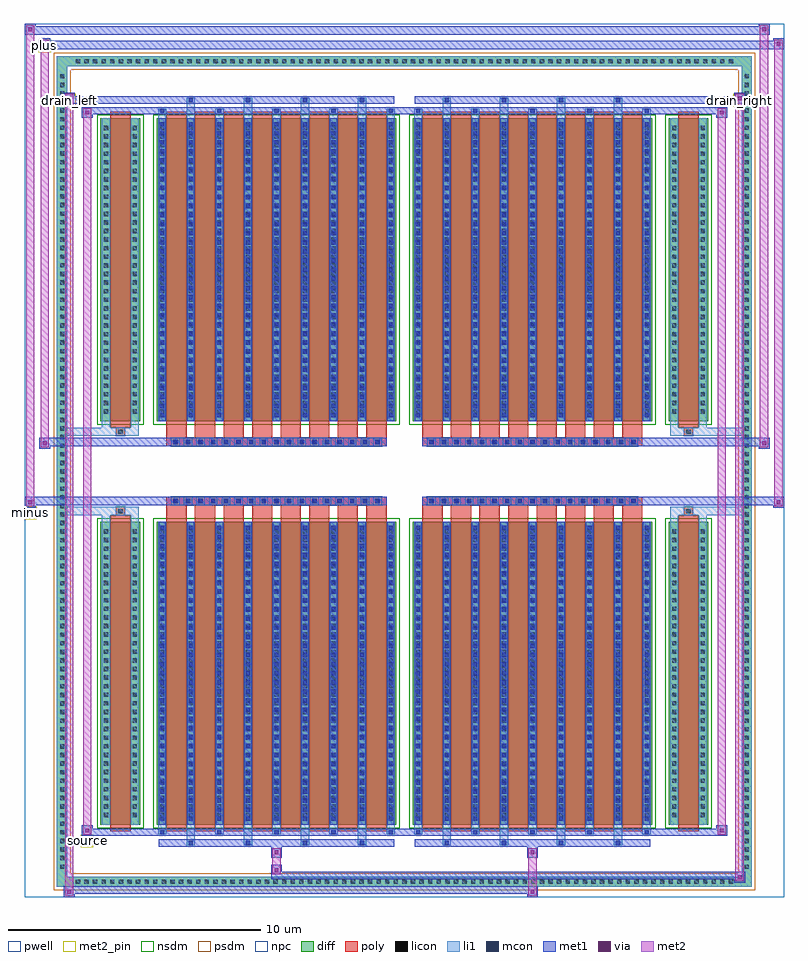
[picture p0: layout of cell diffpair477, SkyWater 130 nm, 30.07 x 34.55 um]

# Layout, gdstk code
import gdstk
lib = gdstk.Library(unit=1e-6, precision=5e-09)
def R(c, l, rs):  # rectangles x0, y0, x1, y1
    for r in rs: c.add(gdstk.rectangle(r[:2], r[2:], *l))
def A(c, l, x, y, w, h, nx, ny, dx, dy):  # array of equal rectangles
    R(c, l, [(x+i*dx, y+j*dy, x+i*dx+w, y+j*dy+h) for i in range(nx) for j in range(ny)])
def P(c, l, *ps):  # polygons
    for p in ps: c.add(gdstk.Polygon(p, *l))
pwell = (64, 44)
diff = (65, 20)
poly = (66, 20)
licon = (66, 44)
li1 = (67, 20)
mcon = (67, 44)
met1 = (68, 20)
via = (68, 44)
met2_pin = (69, 16)
met2 = (69, 20)
nsdm = (93, 44)
psdm = (94, 20)
npc = (95, 20)

diffpair477 = lib.new_cell('diffpair477')
R(diffpair477, pwell, [(-15.02,-16.84,15.02,17.71), (-12.34,-15.03,-0.01,-0.805), (0.01,-15.03,12.34,-0.805), (-12.34,0.805,-0.01,15.03), (0.01,0.805,12.34,15.03)])
A(diffpair477, diff, -13.125, -16.44, 0.41, 0.41, 77, 2, 0.34, 32.47)
A(diffpair477, diff, -13.75, -15.845, 0.41, 0.41, 1, 93, 0, 0.34)
A(diffpair477, diff, 13.34, -15.845, 0.41, 0.41, 1, 93, 0, 0.34)
R(diffpair477, diff, [(-13.125,-16.44,13.125,-16.03), (-13.75,-15.845,-13.34,15.845), (13.34,-15.845,13.75,15.845), (-12.03,-13.985,-10.45,-1.985), (-9.81,-13.985,-0.32,-1.985), (0.32,-13.985,9.81,-1.985), (10.45,-13.985,12.03,-1.985), (-12.03,1.985,-10.45,13.985), (-9.81,1.985,-0.32,13.985), (0.32,1.985,9.81,13.985), (10.45,1.985,12.03,13.985), (-13.125,16.03,13.125,16.44)])
P(diffpair477, diff, [(13.75,16.44),(-13.75,16.44),(-13.75,-16.03),(-13.34,-16.03),(-13.34,16.03),(13.34,16.03),(13.34,-16.03),(-13.34,-16.03),(-13.75,-16.03),(-13.75,-16.44),(13.75,-16.44)])
A(diffpair477, poly, -9.42, -14.235, 0.8, 12.5, 8, 2, 1.13, 15.97)
A(diffpair477, poly, 0.71, -14.235, 0.8, 12.5, 8, 2, 1.13, 15.97)
A(diffpair477, poly, -9.42, -1.735, 0.8, 0.4, 8, 2, 1.13, 3.07)
A(diffpair477, poly, 0.71, -1.735, 0.8, 0.4, 8, 2, 1.13, 3.07)
A(diffpair477, poly, -9.23, -1.335, 0.33, 0.33, 17, 2, 0.5, 2.34)
A(diffpair477, poly, 0.9, -1.335, 0.33, 0.33, 17, 2, 0.5, 2.34)
R(diffpair477, poly, [(-11.64,-14.235,-10.84,-1.735), (10.84,-14.235,11.64,-1.735), (-11.405,-1.735,-11.075,-1.405), (-11.405,-1.735,-11.075,-1.405), (11.075,-1.735,11.405,-1.405), (11.075,-1.735,11.405,-1.405), (-9.42,-1.335,-0.71,-1.005), (0.71,-1.335,9.42,-1.005), (-9.42,1.005,-0.71,1.335), (0.71,1.005,9.42,1.335), (-11.405,1.405,-11.075,1.735), (-11.405,1.405,-11.075,1.735), (11.075,1.405,11.405,1.735), (11.075,1.405,11.405,1.735), (-11.64,1.735,-10.84,14.235), (10.84,1.735,11.64,14.235)])
A(diffpair477, licon, -13.005, -16.32, 0.17, 0.17, 77, 2, 0.34, 32.47)
A(diffpair477, licon, -13.63, -15.725, 0.17, 0.17, 1, 93, 0, 0.34)
A(diffpair477, licon, 13.46, -15.725, 0.17, 0.17, 1, 93, 0, 0.34)
A(diffpair477, licon, -11.89, -13.68, 0.17, 0.17, 1, 34, 0, 0.34)
A(diffpair477, licon, -10.76, -13.68, 0.17, 0.17, 1, 34, 0, 0.34)
A(diffpair477, licon, -9.67, -13.68, 0.17, 0.17, 9, 34, 1.13, 0.34)
A(diffpair477, licon, 0.46, -13.68, 0.17, 0.17, 9, 34, 1.13, 0.34)
A(diffpair477, licon, 10.59, -13.68, 0.17, 0.17, 1, 34, 0, 0.34)
A(diffpair477, licon, 11.72, -13.68, 0.17, 0.17, 1, 34, 0, 0.34)
A(diffpair477, licon, -9.15, -1.255, 0.17, 0.17, 17, 2, 0.5, 2.34)
A(diffpair477, licon, 0.98, -1.255, 0.17, 0.17, 17, 2, 0.5, 2.34)
A(diffpair477, licon, -11.89, 2.29, 0.17, 0.17, 1, 34, 0, 0.34)
A(diffpair477, licon, -10.76, 2.29, 0.17, 0.17, 1, 34, 0, 0.34)
A(diffpair477, licon, -9.67, 2.29, 0.17, 0.17, 9, 34, 1.13, 0.34)
A(diffpair477, licon, 0.46, 2.29, 0.17, 0.17, 9, 34, 1.13, 0.34)
A(diffpair477, licon, 10.59, 2.29, 0.17, 0.17, 1, 34, 0, 0.34)
A(diffpair477, licon, 11.72, 2.29, 0.17, 0.17, 1, 34, 0, 0.34)
R(diffpair477, licon, [(-11.325,-1.655,-11.155,-1.485), (11.155,-1.655,11.325,-1.485), (-11.325,1.485,-11.155,1.655), (11.155,1.485,11.325,1.655)])
A(diffpair477, li1, -13.085, -16.4, 0.33, 0.33, 77, 2, 0.34, 32.47)
A(diffpair477, li1, -13.71, -15.805, 0.33, 0.33, 1, 93, 0, 0.34)
A(diffpair477, li1, 13.38, -15.805, 0.33, 0.33, 1, 93, 0, 0.34)
A(diffpair477, li1, -8.62, -14.79, 0.33, 0.805, 4, 2, 2.26, 28.775)
A(diffpair477, li1, -8.54, -14.79, 0.17, 0.17, 4, 2, 2.26, 29.41)
A(diffpair477, li1, 1.51, -14.79, 0.33, 0.805, 4, 2, 2.26, 28.775)
A(diffpair477, li1, 1.59, -14.79, 0.17, 0.17, 4, 2, 2.26, 29.41)
A(diffpair477, li1, -9.75, -14.36, 0.33, 0.375, 5, 2, 2.26, 28.345)
A(diffpair477, li1, -9.67, -14.36, 0.17, 0.17, 5, 2, 2.26, 28.55)
A(diffpair477, li1, 0.38, -14.36, 0.33, 0.375, 5, 2, 2.26, 28.345)
A(diffpair477, li1, 0.46, -14.36, 0.17, 0.17, 5, 2, 2.26, 28.55)
A(diffpair477, li1, -9.75, -13.985, 0.33, 12, 9, 2, 1.13, 15.97)
A(diffpair477, li1, 0.38, -13.985, 0.33, 12, 9, 2, 1.13, 15.97)
A(diffpair477, li1, -9.67, -13.83, 0.17, 0.17, 9, 33, 1.13, 0.36)
A(diffpair477, li1, -9.67, -13.83, 0.17, 11.69, 9, 2, 1.13, 15.97)
A(diffpair477, li1, 0.46, -13.83, 0.17, 0.17, 9, 33, 1.13, 0.36)
A(diffpair477, li1, 0.46, -13.83, 0.17, 11.69, 9, 2, 1.13, 15.97)
A(diffpair477, li1, -11.97, -13.76, 0.33, 0.33, 1, 34, 0, 0.34)
A(diffpair477, li1, -10.84, -13.76, 0.33, 0.33, 1, 34, 0, 0.34)
A(diffpair477, li1, -9.75, -13.76, 0.33, 0.33, 9, 34, 1.13, 0.34)
A(diffpair477, li1, 0.38, -13.76, 0.33, 0.33, 9, 34, 1.13, 0.34)
A(diffpair477, li1, 10.51, -13.76, 0.33, 0.33, 1, 34, 0, 0.34)
A(diffpair477, li1, 11.64, -13.76, 0.33, 0.33, 1, 34, 0, 0.34)
A(diffpair477, li1, -9.23, -1.335, 0.33, 0.33, 17, 2, 0.5, 2.34)
A(diffpair477, li1, 0.9, -1.335, 0.33, 0.33, 17, 2, 0.5, 2.34)
A(diffpair477, li1, -9.67, 2.14, 0.17, 0.17, 9, 33, 1.13, 0.36)
A(diffpair477, li1, 0.46, 2.14, 0.17, 0.17, 9, 33, 1.13, 0.36)
A(diffpair477, li1, -11.97, 2.21, 0.33, 0.33, 1, 34, 0, 0.34)
A(diffpair477, li1, -10.84, 2.21, 0.33, 0.33, 1, 34, 0, 0.34)
A(diffpair477, li1, -9.75, 2.21, 0.33, 0.33, 9, 34, 1.13, 0.34)
A(diffpair477, li1, 0.38, 2.21, 0.33, 0.33, 9, 34, 1.13, 0.34)
A(diffpair477, li1, 10.51, 2.21, 0.33, 0.33, 1, 34, 0, 0.34)
A(diffpair477, li1, 11.64, 2.21, 0.33, 0.33, 1, 34, 0, 0.34)
R(diffpair477, li1, [(-13.75,-16.44,-13.34,-16.03), (-13.75,-16.44,-13.34,-16.03), (-13.34,-16.44,13.34,-16.03), (13.34,-16.44,13.75,-16.03), (13.34,-16.44,13.75,-16.03), (-13.75,-16.03,-13.34,16.03), (13.34,-16.03,13.75,16.03), (-11.97,-13.985,-11.64,-1.985), (-10.84,-13.985,-10.51,-1.985), (10.51,-13.985,10.84,-1.985), (11.64,-13.985,11.97,-1.985), (-11.97,-1.985,-11.64,-1.405), (-10.84,-1.985,-10.51,-1.405), (10.51,-1.985,10.84,-1.405), (11.64,-1.985,11.97,-1.405), (-13.75,-1.735,-11.405,-1.405), (-11.97,-1.735,-11.405,-1.405), (-11.405,-1.735,-11.075,-1.405), (-11.075,-1.735,-10.51,-1.405), (10.51,-1.735,11.075,-1.405), (11.075,-1.735,11.405,-1.405), (11.075,-1.735,13.75,-1.405), (11.405,-1.735,11.97,-1.405), (-13.75,1.405,-11.405,1.735), (-11.97,1.405,-11.405,1.735), (-11.97,1.405,-11.64,1.985), (-11.405,1.405,-11.075,1.735), (-11.075,1.405,-10.51,1.735), (-10.84,1.405,-10.51,1.985), (10.51,1.405,11.075,1.735), (10.51,1.405,10.84,1.985), (11.075,1.405,11.405,1.735), (11.075,1.405,13.75,1.735), (11.405,1.405,11.97,1.735), (11.64,1.405,11.97,1.985), (-11.97,1.985,-11.64,13.985), (-10.84,1.985,-10.51,13.985), (10.51,1.985,10.84,13.985), (11.64,1.985,11.97,13.985), (-13.75,16.03,-13.34,16.44), (-13.75,16.03,-13.34,16.44), (-13.34,16.03,13.34,16.44), (13.34,16.03,13.75,16.44), (13.34,16.03,13.75,16.44)])
A(diffpair477, mcon, -8.54, -14.79, 0.17, 0.17, 4, 2, 2.26, 29.41)
A(diffpair477, mcon, 1.59, -14.79, 0.17, 0.17, 4, 2, 2.26, 29.41)
A(diffpair477, mcon, -9.67, -14.36, 0.17, 0.17, 5, 2, 2.26, 28.55)
A(diffpair477, mcon, 0.46, -14.36, 0.17, 0.17, 5, 2, 2.26, 28.55)
A(diffpair477, mcon, -9.67, -13.83, 0.17, 0.17, 9, 33, 1.13, 0.36)
A(diffpair477, mcon, 0.46, -13.83, 0.17, 0.17, 9, 33, 1.13, 0.36)
A(diffpair477, mcon, -9.15, -1.255, 0.17, 0.17, 17, 2, 0.5, 2.34)
A(diffpair477, mcon, 0.98, -1.255, 0.17, 0.17, 17, 2, 0.5, 2.34)
A(diffpair477, mcon, -9.67, 2.14, 0.17, 0.17, 9, 33, 1.13, 0.36)
A(diffpair477, mcon, 0.46, 2.14, 0.17, 0.17, 9, 33, 1.13, 0.36)
A(diffpair477, met1, -8.6, -14.85, 0.29, 0.29, 4, 2, 2.26, 29.41)
A(diffpair477, met1, 1.53, -14.85, 0.29, 0.29, 4, 2, 2.26, 29.41)
A(diffpair477, met1, -9.73, -14.42, 0.29, 0.29, 5, 2, 2.26, 28.55)
A(diffpair477, met1, 0.4, -14.42, 0.29, 0.29, 5, 2, 2.26, 28.55)
A(diffpair477, met1, -9.73, -13.985, 0.29, 12, 9, 2, 1.13, 15.97)
A(diffpair477, met1, 0.4, -13.985, 0.29, 12, 9, 2, 1.13, 15.97)
A(diffpair477, met1, -9.73, -13.89, 0.29, 0.29, 9, 33, 1.13, 0.36)
A(diffpair477, met1, 0.4, -13.89, 0.29, 0.29, 9, 33, 1.13, 0.36)
A(diffpair477, met1, -9.21, -1.315, 0.29, 0.29, 17, 2, 0.5, 2.34)
A(diffpair477, met1, 0.92, -1.315, 0.29, 0.29, 17, 2, 0.5, 2.34)
A(diffpair477, met1, -9.73, 2.08, 0.29, 0.29, 9, 33, 1.13, 0.36)
A(diffpair477, met1, 0.4, 2.08, 0.29, 0.29, 9, 33, 1.13, 0.36)
R(diffpair477, met1, [(-13.48,-16.84,-13.05,-16.41), (4.85,-16.84,5.28,-16.41), (-13.48,-16.7,5.28,-16.41), (13.05,-16.27,13.48,-15.84), (-5.28,-16.13,13.48,-15.84), (-5.28,-15.99,-4.85,-15.56), (-5.28,-15.28,-4.85,-14.85), (4.85,-15.28,5.28,-14.85), (-9.73,-14.85,-0.4,-14.56), (0.4,-14.85,9.73,-14.56), (-12.77,-14.42,-12.34,-13.99), (-12.77,-14.42,-9.73,-14.13), (-9.73,-14.42,-0.4,-14.13), (-0.4,-14.42,0.4,-14.13), (0.4,-14.42,9.73,-14.13), (9.73,-14.42,12.77,-14.13), (12.34,-14.42,12.77,-13.99), (-15.02,-1.435,-14.59,-1.005), (14.59,-1.435,15.02,-1.005), (-15.02,-1.335,-0.71,-1.005), (-9.42,-1.335,-0.71,-1.005), (0.71,-1.335,9.42,-1.005), (0.71,-1.335,15.02,-1.005), (-14.45,0.905,-14.02,1.335), (14.02,0.905,14.45,1.335), (-14.45,1.005,-9.42,1.335), (-9.42,1.005,-0.71,1.335), (0.71,1.005,9.42,1.335), (9.42,1.005,14.45,1.335), (-12.77,13.99,-12.34,14.42), (12.34,13.99,12.77,14.42), (-12.77,14.13,-9.73,14.42), (-9.73,14.13,-0.4,14.42), (-0.4,14.13,0.4,14.42), (0.4,14.13,9.73,14.42), (9.73,14.13,12.77,14.42), (-13.48,14.56,-13.05,14.99), (-13.48,14.56,-9.73,14.85), (-9.73,14.56,-0.4,14.85), (0.4,14.56,9.73,14.85), (9.73,14.56,13.48,14.85), (13.05,14.56,13.48,14.99), (-14.45,16.71,-14.02,17.14), (-14.45,16.71,-12.34,17.04), (-12.34,16.71,12.34,17.04), (12.34,16.71,15.02,17.04), (14.59,16.71,15.02,17.14), (-15.02,17.28,-14.59,17.71), (-15.02,17.28,-12.34,17.61), (-12.34,17.28,12.34,17.61), (12.34,17.28,14.45,17.61), (14.02,17.28,14.45,17.71)])
R(diffpair477, via, [(-13.34,-16.7,-13.19,-16.55), (4.99,-16.7,5.14,-16.55), (13.19,-16.13,13.34,-15.98), (-5.14,-15.85,-4.99,-15.7), (-5.14,-15.14,-4.99,-14.99), (4.99,-15.14,5.14,-14.99), (-12.63,-14.28,-12.48,-14.13), (12.48,-14.28,12.63,-14.13), (-14.88,-1.295,-14.73,-1.145), (14.73,-1.295,14.88,-1.145), (-14.31,1.045,-14.16,1.195), (14.16,1.045,14.31,1.195), (-12.63,14.13,-12.48,14.28), (12.48,14.13,12.63,14.28), (-13.34,14.7,-13.19,14.85), (13.19,14.7,13.34,14.85), (-14.31,16.85,-14.16,17), (14.73,16.85,14.88,17), (-14.88,17.42,-14.73,17.57), (14.16,17.42,14.31,17.57)])
R(diffpair477, met2_pin, [(-12.805,-14.87,-12.305,-14.37), (-15.055,-1.885,-14.555,-1.385), (-13.515,14.44,-13.015,14.94), (13.015,14.44,13.515,14.94), (-14.485,16.59,-13.985,17.09)])
R(diffpair477, met2, [(-13.43,-16.79,-13.1,-16.46), (-13.43,-16.79,-13.1,14.94), (4.9,-16.79,5.23,-16.46), (4.9,-16.46,5.23,-15.23), (13.1,-16.22,13.43,-15.89), (13.1,-16.22,13.43,14.94), (-5.23,-15.94,-4.9,-15.61), (-5.23,-15.61,-4.9,-15.23), (-5.23,-15.23,-4.9,-14.9), (4.9,-15.23,5.23,-14.9), (-12.72,-14.37,-12.39,-14.04), (-12.72,-14.37,-12.39,14.37), (12.39,-14.37,12.72,-14.04), (12.39,-14.37,12.72,14.37), (-14.97,-1.385,-14.64,-1.055), (-14.97,-1.385,-14.64,17.66), (14.64,-1.385,14.97,-1.055), (14.64,-1.385,14.97,17.09), (-14.4,0.955,-14.07,1.285), (-14.4,0.955,-14.07,17.09), (14.07,0.955,14.4,1.285), (14.07,0.955,14.4,17.66), (-12.72,14.04,-12.39,14.37), (12.39,14.04,12.72,14.37), (-13.43,14.61,-13.1,14.94), (13.1,14.61,13.43,14.94), (-14.4,16.76,-14.07,17.09), (14.64,16.76,14.97,17.09), (-14.97,17.33,-14.64,17.66), (14.07,17.33,14.4,17.66)])
P(diffpair477, met2, [(14.97,-1.385),(14.97,-1.385),(14.97,-1.055),(14.97,-1.055)],
  [(14.97,16.76),(14.97,16.76),(14.97,17.09),(14.97,17.09)],
  [(-14.64,-1.385),(-14.64,-1.385),(-14.64,-1.055),(-14.64,-1.055)],
  [(-14.64,17.33),(-14.64,17.33),(-14.64,17.66),(-14.64,17.66)],
  [(14.4,0.955),(14.4,0.955),(14.4,1.285),(14.4,1.285)],
  [(14.4,17.33),(14.4,17.33),(14.4,17.66),(14.4,17.66)],
  [(-14.07,0.955),(-14.07,0.955),(-14.07,1.285),(-14.07,1.285)],
  [(-14.07,16.76),(-14.07,16.76),(-14.07,17.09),(-14.07,17.09)],
  [(-13.1,-16.79),(-13.1,-16.79),(-13.1,-16.46),(-13.1,-16.46)],
  [(-13.1,14.61),(-13.1,14.61),(-13.1,14.94),(-13.1,14.94)],
  [(13.43,-16.22),(13.43,-16.22),(13.43,-15.89),(13.43,-15.89)],
  [(13.43,14.61),(13.43,14.61),(13.43,14.94),(13.43,14.94)],
  [(-12.39,-14.37),(-12.39,-14.37),(-12.39,-14.04),(-12.39,-14.04)],
  [(-12.39,14.04),(-12.39,14.04),(-12.39,14.37),(-12.39,14.37)],
  [(12.72,-14.37),(12.72,-14.37),(12.72,-14.04),(12.72,-14.04)],
  [(12.72,14.04),(12.72,14.04),(12.72,14.37),(12.72,14.37)])
R(diffpair477, nsdm, [(-12.16,-14.115,-10.32,-1.855), (-9.94,-14.115,-0.19,-1.855), (0.19,-14.115,9.94,-1.855), (10.32,-14.115,12.16,-1.855), (-12.16,1.855,-10.32,14.115), (-9.94,1.855,-0.19,14.115), (0.19,1.855,9.94,14.115), (10.32,1.855,12.16,14.115)])
P(diffpair477, psdm, [(13.88,16.57),(-13.88,16.57),(-13.88,-15.9),(-13.21,-15.9),(-13.21,15.9),(13.21,15.9),(13.21,-15.9),(-13.21,-15.9),(-13.88,-15.9),(-13.88,-16.57),(13.88,-16.57)])
A(diffpair477, npc, -9.25, -1.355, 0.37, 0.37, 17, 2, 0.5, 2.34)
A(diffpair477, npc, 0.88, -1.355, 0.37, 0.37, 17, 2, 0.5, 2.34)
R(diffpair477, npc, [(-11.425,-1.755,-11.055,-1.385), (11.055,-1.755,11.425,-1.385), (-9.25,-1.355,-8.38,-0.985), (-9.25,-1.355,-8.38,-0.985), (-8.75,-1.355,-7.88,-0.985), (-8.75,-1.355,-7.88,-0.985), (-8.25,-1.355,-7.38,-0.985), (-8.25,-1.355,-7.38,-0.985), (-7.75,-1.355,-6.88,-0.985), (-7.75,-1.355,-6.88,-0.985), (-7.25,-1.355,-6.38,-0.985), (-7.25,-1.355,-6.38,-0.985), (-6.75,-1.355,-5.88,-0.985), (-6.75,-1.355,-5.88,-0.985), (-6.25,-1.355,-5.38,-0.985), (-6.25,-1.355,-5.38,-0.985), (-5.75,-1.355,-4.88,-0.985), (-5.75,-1.355,-4.88,-0.985), (-5.25,-1.355,-4.38,-0.985), (-5.25,-1.355,-4.38,-0.985), (-4.75,-1.355,-3.88,-0.985), (-4.75,-1.355,-3.88,-0.985), (-4.25,-1.355,-3.38,-0.985), (-4.25,-1.355,-3.38,-0.985), (-3.75,-1.355,-2.88,-0.985), (-3.75,-1.355,-2.88,-0.985), (-3.25,-1.355,-2.38,-0.985), (-3.25,-1.355,-2.38,-0.985), (-2.75,-1.355,-1.88,-0.985), (-2.75,-1.355,-1.88,-0.985), (-2.25,-1.355,-1.38,-0.985), (-2.25,-1.355,-1.38,-0.985), (-1.75,-1.355,-0.88,-0.985), (-1.75,-1.355,-0.88,-0.985), (0.88,-1.355,1.75,-0.985), (0.88,-1.355,1.75,-0.985), (1.38,-1.355,2.25,-0.985), (1.38,-1.355,2.25,-0.985), (1.88,-1.355,2.75,-0.985), (1.88,-1.355,2.75,-0.985), (2.38,-1.355,3.25,-0.985), (2.38,-1.355,3.25,-0.985), (2.88,-1.355,3.75,-0.985), (2.88,-1.355,3.75,-0.985), (3.38,-1.355,4.25,-0.985), (3.38,-1.355,4.25,-0.985), (3.88,-1.355,4.75,-0.985), (3.88,-1.355,4.75,-0.985), (4.38,-1.355,5.25,-0.985), (4.38,-1.355,5.25,-0.985), (4.88,-1.355,5.75,-0.985), (4.88,-1.355,5.75,-0.985), (5.38,-1.355,6.25,-0.985), (5.38,-1.355,6.25,-0.985), (5.88,-1.355,6.75,-0.985), (5.88,-1.355,6.75,-0.985), (6.38,-1.355,7.25,-0.985), (6.38,-1.355,7.25,-0.985), (6.88,-1.355,7.75,-0.985), (6.88,-1.355,7.75,-0.985), (7.38,-1.355,8.25,-0.985), (7.38,-1.355,8.25,-0.985), (7.88,-1.355,8.75,-0.985), (7.88,-1.355,8.75,-0.985), (8.38,-1.355,9.25,-0.985), (8.38,-1.355,9.25,-0.985), (-9.25,0.985,-8.38,1.355), (-9.25,0.985,-8.38,1.355), (-8.75,0.985,-7.88,1.355), (-8.75,0.985,-7.88,1.355), (-8.25,0.985,-7.38,1.355), (-8.25,0.985,-7.38,1.355), (-7.75,0.985,-6.88,1.355), (-7.75,0.985,-6.88,1.355), (-7.25,0.985,-6.38,1.355), (-7.25,0.985,-6.38,1.355), (-6.75,0.985,-5.88,1.355), (-6.75,0.985,-5.88,1.355), (-6.25,0.985,-5.38,1.355), (-6.25,0.985,-5.38,1.355), (-5.75,0.985,-4.88,1.355), (-5.75,0.985,-4.88,1.355), (-5.25,0.985,-4.38,1.355), (-5.25,0.985,-4.38,1.355), (-4.75,0.985,-3.88,1.355), (-4.75,0.985,-3.88,1.355), (-4.25,0.985,-3.38,1.355), (-4.25,0.985,-3.38,1.355), (-3.75,0.985,-2.88,1.355), (-3.75,0.985,-2.88,1.355), (-3.25,0.985,-2.38,1.355), (-3.25,0.985,-2.38,1.355), (-2.75,0.985,-1.88,1.355), (-2.75,0.985,-1.88,1.355), (-2.25,0.985,-1.38,1.355), (-2.25,0.985,-1.38,1.355), (-1.75,0.985,-0.88,1.355), (-1.75,0.985,-0.88,1.355), (0.88,0.985,1.75,1.355), (0.88,0.985,1.75,1.355), (1.38,0.985,2.25,1.355), (1.38,0.985,2.25,1.355), (1.88,0.985,2.75,1.355), (1.88,0.985,2.75,1.355), (2.38,0.985,3.25,1.355), (2.38,0.985,3.25,1.355), (2.88,0.985,3.75,1.355), (2.88,0.985,3.75,1.355), (3.38,0.985,4.25,1.355), (3.38,0.985,4.25,1.355), (3.88,0.985,4.75,1.355), (3.88,0.985,4.75,1.355), (4.38,0.985,5.25,1.355), (4.38,0.985,5.25,1.355), (4.88,0.985,5.75,1.355), (4.88,0.985,5.75,1.355), (5.38,0.985,6.25,1.355), (5.38,0.985,6.25,1.355), (5.88,0.985,6.75,1.355), (5.88,0.985,6.75,1.355), (6.38,0.985,7.25,1.355), (6.38,0.985,7.25,1.355), (6.88,0.985,7.75,1.355), (6.88,0.985,7.75,1.355), (7.38,0.985,8.25,1.355), (7.38,0.985,8.25,1.355), (7.88,0.985,8.75,1.355), (7.88,0.985,8.75,1.355), (8.38,0.985,9.25,1.355), (8.38,0.985,9.25,1.355), (-11.425,1.385,-11.055,1.755), (11.055,1.385,11.425,1.755)])
diffpair477.add(gdstk.Label('minus', (-14.805,-1.635), layer=69, texttype=5))
diffpair477.add(gdstk.Label('drain_right', (13.265,14.69), layer=69, texttype=5))
diffpair477.add(gdstk.Label('drain_left', (-13.265,14.69), layer=69, texttype=5))
diffpair477.add(gdstk.Label('source', (-12.555,-14.62), layer=69, texttype=5))
diffpair477.add(gdstk.Label('plus', (-14.235,16.84), layer=69, texttype=5))

lib.write_gds('diffpair477.gds')
